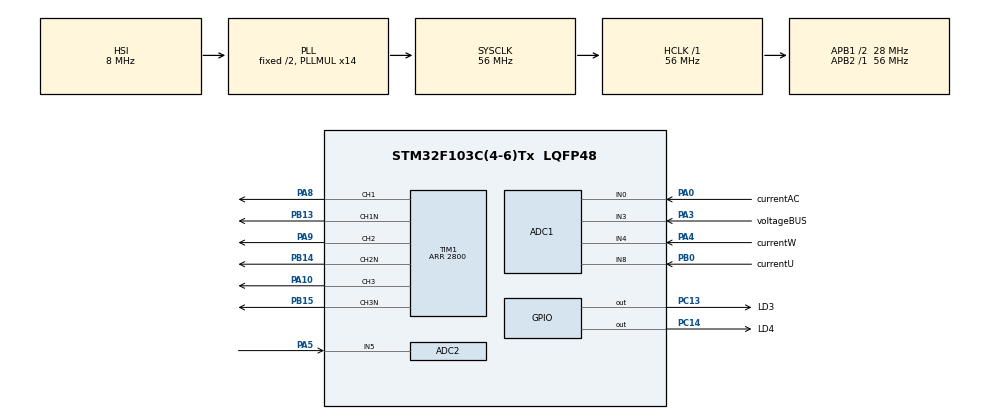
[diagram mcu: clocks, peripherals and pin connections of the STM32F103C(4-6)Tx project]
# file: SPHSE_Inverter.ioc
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ADC1.Channel-14\#ChannelInjectedConversion=ADC_CHANNEL_0
ADC1.Channel-15\#ChannelInjectedConversion=ADC_CHANNEL_3
ADC1.Channel-16\#ChannelInjectedConversion=ADC_CHANNEL_4
ADC1.Channel-20\#ChannelInjectedConversion=ADC_CHANNEL_8
ADC1.ContinuousConvMode=DISABLE
ADC1.DataAlign=ADC_DATAALIGN_RIGHT
ADC1.EnableAnalogWatchDog=false
ADC1.EnableInjectedConversion=ENABLE
ADC1.EnableRegularConversion=DISABLE
ADC1.ExternalTrigInjecConv=ADC_EXTERNALTRIGINJECCONV_T1_TRGO
ADC1.InjNumberOfConversion=4
ADC1.InjectedConvMode=None
ADC1.InjectedOffset-14\#ChannelInjectedConversion=0
ADC1.InjectedOffset-15\#ChannelInjectedConversion=0
ADC1.InjectedOffset-16\#ChannelInjectedConversion=0
ADC1.InjectedOffset-20\#ChannelInjectedConversion=0
ADC1.InjectedRank-14\#ChannelInjectedConversion=1
ADC1.InjectedRank-15\#ChannelInjectedConversion=2
ADC1.InjectedRank-16\#ChannelInjectedConversion=3
ADC1.InjectedRank-20\#ChannelInjectedConversion=4
ADC1.Mode=ADC_DUALMODE_INJECSIMULT
ADC1.SamplingTime-14\#ChannelInjectedConversion=ADC_SAMPLETIME_1CYCLE_5
ADC1.SamplingTime-15\#ChannelInjectedConversion=ADC_SAMPLETIME_1CYCLE_5
ADC1.SamplingTime-16\#ChannelInjectedConversion=ADC_SAMPLETIME_1CYCLE_5
ADC1.SamplingTime-20\#ChannelInjectedConversion=ADC_SAMPLETIME_1CYCLE_5
ADC1.master=1
ADC2.Channel-19\#ChannelRegularConversion=ADC_CHANNEL_5
ADC2.Mode=ADC_DUALMODE_INJECSIMULT
ADC2.NbrOfConversionFlag=1
ADC2.Rank-19\#ChannelRegularConversion=1
ADC2.SamplingTime-19\#ChannelRegularConversion=ADC_SAMPLETIME_1CYCLE_5
Mcu.Family=STM32F1
Mcu.Name=STM32F103C(4-6)Tx
Mcu.Package=LQFP48
NVIC.ADC1_2_IRQn=true\:1\:0\:true\:false\:true\:true\:true\:true
NVIC.PriorityGroup=NVIC_PRIORITYGROUP_4
NVIC.TIM1_UP_IRQn=true\:0\:0\:false\:false\:true\:true\:true\:true
PA0-WKUP.GPIO_Label=currentAC
PA0-WKUP.Signal=ADCx_IN0
PA1.GPIO_Label=voltageAC
PA1.Signal=ADCx_IN1
PA10.Signal=S_TIM1_CH3
PA13.Mode=Serial_Wire
PA13.Signal=SYS_JTMS-SWDIO
PA14.Mode=Serial_Wire
PA14.Signal=SYS_JTCK-SWCLK
PA2.GPIO_Label=tempPCB
PA2.Signal=ADCx_IN2
PA3.GPIO_Label=voltageBUS
PA3.Signal=ADCx_IN3
PA4.GPIO_Label=currentW
PA4.Signal=ADCx_IN4
PA5.Signal=ADCx_IN5
PA6.GPIO_Label=currentV
PA6.Signal=ADCx_IN6
PA7.GPIO_Label=voltageINPUT
PA7.Signal=ADCx_IN7
PA8.Signal=S_TIM1_CH1
PA9.Signal=S_TIM1_CH2
PB0.GPIO_Label=currentU
PB0.Signal=ADCx_IN8
PB1.GPIO_Label=tempIPM
PB1.Signal=ADCx_IN9
PB13.Mode=PWM Generation1 CH1 CH1N
PB13.Signal=TIM1_CH1N
PB14.Mode=PWM Generation2 CH2 CH2N
PB14.Signal=TIM1_CH2N
PB15.Mode=PWM Generation3 CH3 CH3N
PB15.Signal=TIM1_CH3N
PC13-TAMPER-RTC.GPIO_Label=LD3
PC13-TAMPER-RTC.Signal=GPIO_Output
PC14-OSC32_IN.GPIO_Label=LD4
PC14-OSC32_IN.Signal=GPIO_Output
ProjectManager.HeapSize=0x200
ProjectManager.StackSize=0x400
ProjectManager.TargetToolchain=STM32CubeIDE
RCC.ADCPresc=RCC_ADCPCLK2_DIV4
RCC.AHBFreq_Value=56000000
RCC.APB1CLKDivider=RCC_HCLK_DIV2
RCC.APB1Freq_Value=28000000
RCC.APB1TimFreq_Value=56000000
RCC.APB2Freq_Value=56000000
RCC.APB2TimFreq_Value=56000000
RCC.HCLKFreq_Value=56000000
RCC.PLLMUL=RCC_PLL_MUL14
RCC.SYSCLKFreq_VALUE=56000000
RCC.SYSCLKSource=RCC_SYSCLKSOURCE_PLLCLK
RCC.USBFreq_Value=56000000
SH.ADCx_IN0.0=ADC1_IN0,IN0
SH.ADCx_IN1.0=ADC2_IN1
SH.ADCx_IN2.0=ADC2_IN2
SH.ADCx_IN3.0=ADC1_IN3,IN3
SH.ADCx_IN4.0=ADC1_IN4,IN4
SH.ADCx_IN5.0=ADC1_IN5
SH.ADCx_IN5.1=ADC2_IN5,IN5
SH.ADCx_IN6.0=ADC2_IN6
SH.ADCx_IN7.0=ADC2_IN7
SH.ADCx_IN8.0=ADC1_IN8,IN8
SH.ADCx_IN9.0=ADC2_IN9
SH.S_TIM1_CH1.0=TIM1_CH1,PWM Generation1 CH1 CH1N
SH.S_TIM1_CH2.0=TIM1_CH2,PWM Generation2 CH2 CH2N
SH.S_TIM1_CH3.0=TIM1_CH3,PWM Generation3 CH3 CH3N
TIM1.BreakPolarity=TIM_BREAKPOLARITY_LOW
TIM1.BreakState=TIM_BREAK_DISABLE
TIM1.Channel-PWM\ Generation1\ CH1\ CH1N=TIM_CHANNEL_1
TIM1.Channel-PWM\ Generation2\ CH2\ CH2N=TIM_CHANNEL_2
TIM1.Channel-PWM\ Generation3\ CH3\ CH3N=TIM_CHANNEL_3
TIM1.CounterMode=TIM_COUNTERMODE_CENTERALIGNED1
TIM1.DeadTime=100
TIM1.Period=2800
TIM1.Pulse-PWM\ Generation1\ CH1\ CH1N=1200
TIM1.Pulse-PWM\ Generation2\ CH2\ CH2N=800
TIM1.RepetitionCounter=1
TIM1.TIM_MasterOutputTrigger=TIM_TRGO_UPDATE
TIM1.TIM_MasterSlaveMode=TIM_MASTERSLAVEMODE_DISABLE
board=custom

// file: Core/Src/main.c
/* USER CODE BEGIN Header */
/**
  ******************************************************************************
  * @file           : main.c
  * @brief          : Main program body
  ******************************************************************************
  * @attention
  *
  * Copyright (c) 2022 STMicroelectronics.
  * All rights reserved.
  *
  * This software is licensed under terms that can be found in the LICENSE file
  * in the root directory of this software component.
  * If no LICENSE file comes with this software, it is provided AS-IS.
  *
  ******************************************************************************
  */
/* USER CODE END Header */
#include "main.h"

ADC_HandleTypeDef hadc1;
ADC_HandleTypeDef hadc2;

TIM_HandleTypeDef htim1;

/* USER CODE BEGIN PV */

const unsigned int sineTable_10KHz[100] = {  // 10KHz // 6000 u16 ,  Center Align

   0,  87, 175, 263, 350, 438, 524, 610, 696, 781,
 865, 948,1030,1112,1192,1271,1348,1425,1500,1573,
1645,1716,1784,1851,1916,1979,2041,2100,2157,2212,
2265,2315,2364,2410,2453,2494,2533,2569,2603,2634,
2662,2688,2712,2732,2750,2765,2777,2787,2794,2798,
2800,2798,2794,2787,2777,2765,2750,2732,2712,2688,
2662,2634,2603,2569,2533,2494,2453,2410,2364,2315,
2265,2212,2157,2100,2041,1979,1916,1851,1784,1716,
1645,1573,1500,1425,1348,1271,1192,1112,1030, 948,
 865, 781, 696, 610, 524, 438, 350, 263, 175,  87

};

uint32_t buffPeriod;
uint16_t dutyCycle;

uint16_t countSamples =0;
uint16_t percentMod = 90;
uint16_t cntSystick =0;
uint16_t adc_val3, adc_val4, adc_val6, adc_val7, adc_val8;
uint16_t countConvComplt =0;

uint8_t  fullBridgeState=0;
uint8_t  read_JEOC_Flag, read_EOC_Flag;
uint8_t  flagHarfwave=0;

uint16_t currentAC, currentINPUT, voltageBUS,   currentW, currentU;   // ADC1
uint16_t voltageAC, voltageINPUT, voltageINPUT, currentV, trmpIPM;    // ADC2
/* USER CODE END PV */

void SystemClock_Config(void);
static void MX_GPIO_Init(void);
static void MX_ADC1_Init(void);
static void MX_ADC2_Init(void);
static void MX_TIM1_Init(void);
/* USER CODE BEGIN PFP */
void TIM1_UEISR(void);
/* USER CODE END PFP */

int main(void)
{

  /* MCU Configuration--------------------------------------------------------*/

  /* Reset of all peripherals, Initializes the Flash interface and the Systick. */
  HAL_Init();

  /* Configure the system clock */
  SystemClock_Config();

  /* Initialize all configured peripherals */
  MX_GPIO_Init();
  MX_ADC1_Init();
  MX_ADC2_Init();
  MX_TIM1_Init();
  /* USER CODE BEGIN 2 */

  //HAL_TIM1_ENABLE();

  HAL_TIMEx_PWMN_Start(&htim1, TIM_CHANNEL_1);
  HAL_TIM_PWM_Start(&htim1, TIM_CHANNEL_1);

  HAL_TIMEx_PWMN_Start(&htim1, TIM_CHANNEL_2);
  HAL_TIM_PWM_Start(&htim1, TIM_CHANNEL_2);

  HAL_TIMEx_PWMN_Start(&htim1, TIM_CHANNEL_3);
  HAL_TIM_PWM_Start(&htim1, TIM_CHANNEL_3);

  /* USER CODE END 2 */

  /* Infinite loop */
  while (1)
  {

  }
}

void SystemClock_Config(void)
{
  RCC_OscInitTypeDef RCC_OscInitStruct = {0};
  RCC_ClkInitTypeDef RCC_ClkInitStruct = {0};
  RCC_PeriphCLKInitTypeDef PeriphClkInit = {0};

  /** Initializes the RCC Oscillators according to the specified parameters
  * in the RCC_OscInitTypeDef structure.
  */
  RCC_OscInitStruct.OscillatorType = RCC_OSCILLATORTYPE_HSI;
  RCC_OscInitStruct.HSIState = RCC_HSI_ON;
  RCC_OscInitStruct.HSICalibrationValue = RCC_HSICALIBRATION_DEFAULT;
  RCC_OscInitStruct.PLL.PLLState = RCC_PLL_ON;
  RCC_OscInitStruct.PLL.PLLSource = RCC_PLLSOURCE_HSI_DIV2;
  RCC_OscInitStruct.PLL.PLLMUL = RCC_PLL_MUL14;
  if (HAL_RCC_OscConfig(&RCC_OscInitStruct) != HAL_OK)
  {
    Error_Handler();
  }

  /** Initializes the CPU, AHB and APB buses clocks
  */
  RCC_ClkInitStruct.ClockType = RCC_CLOCKTYPE_HCLK|RCC_CLOCKTYPE_SYSCLK
                              |RCC_CLOCKTYPE_PCLK1|RCC_CLOCKTYPE_PCLK2;
  RCC_ClkInitStruct.SYSCLKSource = RCC_SYSCLKSOURCE_PLLCLK;
  RCC_ClkInitStruct.AHBCLKDivider = RCC_SYSCLK_DIV1;
  RCC_ClkInitStruct.APB1CLKDivider = RCC_HCLK_DIV2;
  RCC_ClkInitStruct.APB2CLKDivider = RCC_HCLK_DIV1;

  if (HAL_RCC_ClockConfig(&RCC_ClkInitStruct, FLASH_LATENCY_2) != HAL_OK)
  {
    Error_Handler();
  }
  PeriphClkInit.PeriphClockSelection = RCC_PERIPHCLK_ADC;
  PeriphClkInit.AdcClockSelection = RCC_ADCPCLK2_DIV4;
  if (HAL_RCCEx_PeriphCLKConfig(&PeriphClkInit) != HAL_OK)
  {
    Error_Handler();
  }
}

static void MX_ADC1_Init(void)
{

  ADC_MultiModeTypeDef multimode = {0};
  ADC_InjectionConfTypeDef sConfigInjected = {0};

  /** Common config
  */
  hadc1.Instance = ADC1;
  hadc1.Init.ScanConvMode = ADC_SCAN_ENABLE;
  hadc1.Init.ContinuousConvMode = DISABLE;
  hadc1.Init.DiscontinuousConvMode = DISABLE;
  hadc1.Init.ExternalTrigConv = ADC_SOFTWARE_START;
  hadc1.Init.DataAlign = ADC_DATAALIGN_RIGHT;
  hadc1.Init.NbrOfConversion = 1;
  if (HAL_ADC_Init(&hadc1) != HAL_OK)
  {
    Error_Handler();
  }

  /** Configure the ADC multi-mode
  */
  multimode.Mode = ADC_DUALMODE_INJECSIMULT;
  if (HAL_ADCEx_MultiModeConfigChannel(&hadc1, &multimode) != HAL_OK)
  {
    Error_Handler();
  }

  /** Configure Injected Channel
  */
  sConfigInjected.InjectedChannel = ADC_CHANNEL_0;
  sConfigInjected.InjectedRank = ADC_INJECTED_RANK_1;
  sConfigInjected.InjectedNbrOfConversion = 4;
  sConfigInjected.InjectedSamplingTime = ADC_SAMPLETIME_1CYCLE_5;
  sConfigInjected.ExternalTrigInjecConv = ADC_EXTERNALTRIGINJECCONV_T1_TRGO;
  sConfigInjected.AutoInjectedConv = DISABLE;
  sConfigInjected.InjectedDiscontinuousConvMode = DISABLE;
  sConfigInjected.InjectedOffset = 0;
  if (HAL_ADCEx_InjectedConfigChannel(&hadc1, &sConfigInjected) != HAL_OK)
  {
    Error_Handler();
  }

  /** Configure Injected Channel
  */
  sConfigInjected.InjectedChannel = ADC_CHANNEL_3;
  sConfigInjected.InjectedRank = ADC_INJECTED_RANK_2;
  if (HAL_ADCEx_InjectedConfigChannel(&hadc1, &sConfigInjected) != HAL_OK)
  {
    Error_Handler();
  }

  /** Configure Injected Channel
  */
  sConfigInjected.InjectedChannel = ADC_CHANNEL_4;
  sConfigInjected.InjectedRank = ADC_INJECTED_RANK_3;
  if (HAL_ADCEx_InjectedConfigChannel(&hadc1, &sConfigInjected) != HAL_OK)
  {
    Error_Handler();
  }

  /** Configure Injected Channel
  */
  sConfigInjected.InjectedChannel = ADC_CHANNEL_8;
  sConfigInjected.InjectedRank = ADC_INJECTED_RANK_4;
  if (HAL_ADCEx_InjectedConfigChannel(&hadc1, &sConfigInjected) != HAL_OK)
  {
    Error_Handler();
  }
  /* USER CODE BEGIN ADC1_Init 2 */
  /* Configure and enable ADC1_2_IRQHandler interrupt channel in NVIC */

  //NVIC_SetPriority(ADC1_2_IRQn,0);
  //NVIC_EnableIRQ(ADC1_2_IRQn);
  __HAL_ADC_ENABLE_IT(&hadc1,ADC_IT_JEOC);

  HAL_NVIC_SetPriority(ADC1_2_IRQn, 0, 0);
  HAL_NVIC_EnableIRQ(ADC1_2_IRQn);

  /* Run the ADC calibration in single-ended mode */

  /* Start ADC1 Injected Conversions */
  //LL_ADC_EnableIT_JEOS(ADC1);

  //SET_BIT(REG, BIT);
  HAL_ADCEx_InjectedStart_IT(&hadc1);
  HAL_ADC_Start_IT(&hadc1);

  //SET_BIT(ADC1->CR1, ADC_IT_JEOC); // ADC_IT_JEOC
  //SET_BIT(ADC1->CR1, ADC_IT_EOC);

/** @brief Disable the ADC end of conversion interrupt.
  * @param __HANDLE__: ADC handle
  * @param __INTERRUPT__: ADC Interrupt
  *          This parameter can be any combination of the following values:
  *            @arg ADC_IT_EOC: ADC End of Regular Conversion interrupt source
  *            @arg ADC_IT_JEOC: ADC End of Injected Conversion interrupt source
  *            @arg ADC_IT_AWD: ADC Analog watchdog interrupt source
  * @retval None
  */
  /* USER CODE END ADC1_Init 2 */

}

static void MX_ADC2_Init(void)
{

  ADC_ChannelConfTypeDef sConfig = {0};

  /** Common config
  */
  hadc2.Instance = ADC2;
  hadc2.Init.ScanConvMode = ADC_SCAN_DISABLE;
  hadc2.Init.ContinuousConvMode = DISABLE;
  hadc2.Init.DiscontinuousConvMode = DISABLE;
  hadc2.Init.ExternalTrigConv = ADC_SOFTWARE_START;
  hadc2.Init.DataAlign = ADC_DATAALIGN_RIGHT;
  hadc2.Init.NbrOfConversion = 1;
  if (HAL_ADC_Init(&hadc2) != HAL_OK)
  {
    Error_Handler();
  }

  /** Configure Regular Channel
  */
  sConfig.Channel = ADC_CHANNEL_5;
  sConfig.Rank = ADC_REGULAR_RANK_1;
  sConfig.SamplingTime = ADC_SAMPLETIME_1CYCLE_5;
  if (HAL_ADC_ConfigChannel(&hadc2, &sConfig) != HAL_OK)
  {
    Error_Handler();
  }

}

static void MX_TIM1_Init(void)
{

  TIM_MasterConfigTypeDef sMasterConfig = {0};
  TIM_OC_InitTypeDef sConfigOC = {0};
  TIM_BreakDeadTimeConfigTypeDef sBreakDeadTimeConfig = {0};

  htim1.Instance = TIM1;
  htim1.Init.Prescaler = 0;
  htim1.Init.CounterMode = TIM_COUNTERMODE_CENTERALIGNED1;
  htim1.Init.Period = 2800;
  htim1.Init.ClockDivision = TIM_CLOCKDIVISION_DIV1;
  htim1.Init.RepetitionCounter = 1;
  htim1.Init.AutoReloadPreload = TIM_AUTORELOAD_PRELOAD_DISABLE;
  if (HAL_TIM_PWM_Init(&htim1) != HAL_OK)
  {
    Error_Handler();
  }
  sMasterConfig.MasterOutputTrigger = TIM_TRGO_UPDATE;
  sMasterConfig.MasterSlaveMode = TIM_MASTERSLAVEMODE_DISABLE;
  if (HAL_TIMEx_MasterConfigSynchronization(&htim1, &sMasterConfig) != HAL_OK)
  {
    Error_Handler();
  }
  sConfigOC.OCMode = TIM_OCMODE_PWM1;
  sConfigOC.Pulse = 1200;
  sConfigOC.OCPolarity = TIM_OCPOLARITY_HIGH;
  sConfigOC.OCNPolarity = TIM_OCNPOLARITY_HIGH;
  sConfigOC.OCFastMode = TIM_OCFAST_DISABLE;
  sConfigOC.OCIdleState = TIM_OCIDLESTATE_RESET;
  sConfigOC.OCNIdleState = TIM_OCNIDLESTATE_RESET;
  if (HAL_TIM_PWM_ConfigChannel(&htim1, &sConfigOC, TIM_CHANNEL_1) != HAL_OK)
  {
    Error_Handler();
  }
  sConfigOC.Pulse = 800;
  if (HAL_TIM_PWM_ConfigChannel(&htim1, &sConfigOC, TIM_CHANNEL_2) != HAL_OK)
  {
    Error_Handler();
  }
  sConfigOC.Pulse = 0;
  if (HAL_TIM_PWM_ConfigChannel(&htim1, &sConfigOC, TIM_CHANNEL_3) != HAL_OK)
  {
    Error_Handler();
  }
  sBreakDeadTimeConfig.OffStateRunMode = TIM_OSSR_DISABLE;
  sBreakDeadTimeConfig.OffStateIDLEMode = TIM_OSSI_DISABLE;
  sBreakDeadTimeConfig.LockLevel = TIM_LOCKLEVEL_OFF;
  sBreakDeadTimeConfig.DeadTime = 100;
  sBreakDeadTimeConfig.BreakState = TIM_BREAK_DISABLE;
  sBreakDeadTimeConfig.BreakPolarity = TIM_BREAKPOLARITY_LOW;
  sBreakDeadTimeConfig.AutomaticOutput = TIM_AUTOMATICOUTPUT_DISABLE;
  if (HAL_TIMEx_ConfigBreakDeadTime(&htim1, &sBreakDeadTimeConfig) != HAL_OK)
  {
    Error_Handler();
  }
  /* USER CODE BEGIN TIM1_Init 2 */
  HAL_TIM_Base_Start_IT(&htim1);
  /* USER CODE END TIM1_Init 2 */
  HAL_TIM_MspPostInit(&htim1);

}

static void MX_GPIO_Init(void)
{
  GPIO_InitTypeDef GPIO_InitStruct = {0};

  /* GPIO Ports Clock Enable */
  __HAL_RCC_GPIOC_CLK_ENABLE();
  __HAL_RCC_GPIOA_CLK_ENABLE();
  __HAL_RCC_GPIOB_CLK_ENABLE();

  /*Configure GPIO pin Output Level */
  HAL_GPIO_WritePin(GPIOC, LD3_Pin|LD4_Pin, GPIO_PIN_RESET);

  /*Configure GPIO pins : LD3_Pin LD4_Pin */
  GPIO_InitStruct.Pin = LD3_Pin|LD4_Pin;
  GPIO_InitStruct.Mode = GPIO_MODE_OUTPUT_PP;
  GPIO_InitStruct.Pull = GPIO_NOPULL;
  GPIO_InitStruct.Speed = GPIO_SPEED_FREQ_LOW;
  HAL_GPIO_Init(GPIOC, &GPIO_InitStruct);

}

/* USER CODE BEGIN 4 */
void TIM1_UEISR(void)
{
	  HAL_GPIO_TogglePin(GPIOC, GPIO_PIN_14);  // Indicator

	  countSamples++;
	  if(countSamples > 99)
	  {
		  countSamples = 0;

		  flagHarfwave = 1;
	  }

	  buffPeriod = sineTable_10KHz[countSamples];
	  buffPeriod = (uint32_t)(buffPeriod * percentMod);

	  dutyCycle = buffPeriod / 100;

	  if(dutyCycle > MAX_FULLBRIDGE_PERIOD) dutyCycle = MAX_FULLBRIDGE_PERIOD;
	  if(dutyCycle < MIN_FULLBRIDGE_PERIOD) dutyCycle = MIN_FULLBRIDGE_PERIOD;

	  //TIM1->CCR1 = buffPeriod;
	  //TIM1->CCR2 = buffPeriod;

	  switch(fullBridgeState)
	  {
	  	  case 0:
	  	  {	   //TIM1->CCR3 = 0;
	  		   TIM1->CCR2 = 0;
	  		   TIM1->CCR1 = dutyCycle;

	  		  if(flagHarfwave == 1)
	  		  {
	  			flagHarfwave =0;
	  			fullBridgeState = 1;
	  		  }
	  	  }
	  	  break;

	  	  case 1:
	  	  {
	  		  	fullBridgeState = 2;
	  	  }
	  	  break;

	  	  case 2:
	  	  {
	  		  //TIM1->CCR3 = 0;
	  		  TIM1->CCR1 = 0;
	  		  TIM1->CCR2 = dutyCycle;

	  		  if(flagHarfwave == 1)
	  		  {
	  			flagHarfwave =0;
	  			fullBridgeState = 3;
	  		  }
	  	  }
	  	  break;

	  	  case 3:
	  	  {
	  		  	fullBridgeState = 0;
	  	  }
	  	  break;
	  }
}

/* USER CODE END 4 */

void Error_Handler(void)
{
  __disable_irq();
  while (1)
  {
  }
}
